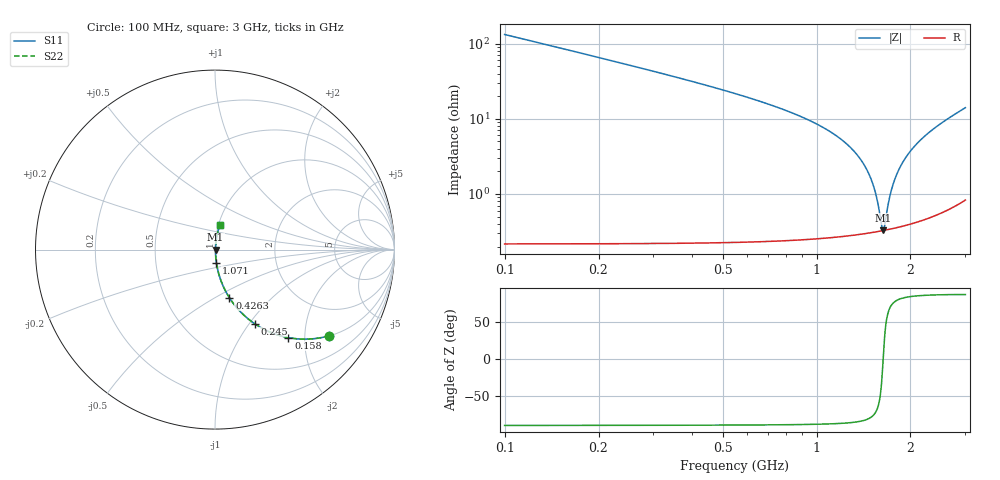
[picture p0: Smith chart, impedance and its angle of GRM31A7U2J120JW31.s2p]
!Murata Part Number: GRM31A7U2J120JW31
!These Parameters are Measured in Series Mode Connection
!Data Generated on Mar 30, 2021
!  o--ll--o
!Port1  Port2
!  o------o
!Operation Temp=25[degC], DC Bias Voltage=0[V]
!Freq. Start=100[MHz] Stop=3[GHz] 401[Steps]
# Hz S RI R 50
!Freq.(Hz) S11(Real) S11(Imag) S21(Real) S21(Imag) S12(Real) S12(Imag) S22(Real) S22(Imag)
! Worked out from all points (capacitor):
!   401 points, 100 MHz to 3 GHz, reference 50 ohm
!   read as one part in series: C = 12 pF near 114.5 MHz
!   lowest |Z| = 328 mohm at 1.637 GHz (marker M1)
!   series resonance near 1.635 GHz, so ESL is about 790 pH
!   S11 on the Smith chart (normalised r, x): 100 MHz: 1.00, -2.64; 158 MHz: 1.00, -1.66; 245 MHz: 1.00, -1.06; 426.2 MHz: 1.00, -0.58; 1.071 GHz: 1.01, -0.15; 3 GHz: 1.02, +0.28
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1e8  0.6357 -0.4804  0.3643 0.4804  0.3643 0.4804  0.6357 -0.4804
1.58e8  0.4094 -0.4904  0.5906 0.4904  0.5906 0.4904  0.4094 -0.4904
2.45e8  0.2203 -0.4124  0.7797 0.4124  0.7797 0.4124  0.2203 -0.4124
3.2475e8  0.1355 -0.3394  0.8645 0.3394  0.8645 0.3394  0.1355 -0.3394
4.2625e8  0.08 -0.2676  0.92 0.2676  0.92 0.2676  0.08 -0.2676
5.8575e8  0.0402 -0.1908  0.9598 0.1908  0.9598 0.1908  0.0402 -0.1908
1.0715e9  0.00784 -0.0722  0.9922 0.0722  0.9922 0.0722  0.00784 -0.0722
1.25275e9  0.00483 -0.0454  0.9952 0.0454  0.9952 0.0454  0.00483 -0.0454
1.38325e9  0.00373 -0.0286  0.9963 0.0286  0.9963 0.0286  0.00373 -0.0286
1.4775e9  0.00333 -0.0174  0.9967 0.0174  0.9967 0.0174  0.00333 -0.0174
1.55e9  0.00321 -0.00926  0.9968 0.00926  0.9968 0.00926  0.00321 -0.00926
1.61525e9  0.00323 -0.00214  0.9968 0.00214  0.9968 0.00214  0.00323 -0.00214
1.637e9  0.00326 0.000185  0.9967 -0.000185  0.9967 -0.000185  0.00326 0.000185
1.6515e9  0.00329 0.00172  0.9967 -0.00172  0.9967 -0.00172  0.00329 0.00172
1.695e9  0.00339 0.00629  0.9966 -0.00629  0.9966 -0.00629  0.00339 0.00629
1.724e9  0.00349 0.00929  0.9965 -0.00929  0.9965 -0.00929  0.00349 0.00929
1.78925e9  0.00378 0.0159  0.9962 -0.0159  0.9962 -0.0159  0.00378 0.0159
1.89075e9  0.0044 0.0261  0.9956 -0.0261  0.9956 -0.0261  0.0044 0.0261
2.03575e9  0.00567 0.0402  0.9943 -0.0402  0.9943 -0.0402  0.00567 0.0402
2.246e9  0.00827 0.0602  0.9917 -0.0602  0.9917 -0.0602  0.00827 0.0602
2.5215e9  0.0132 0.0866  0.9868 -0.0866  0.9868 -0.0866  0.0132 0.0866
3e9  0.0271 0.1354  0.9729 -0.1354  0.9729 -0.1354  0.0271 0.1354
